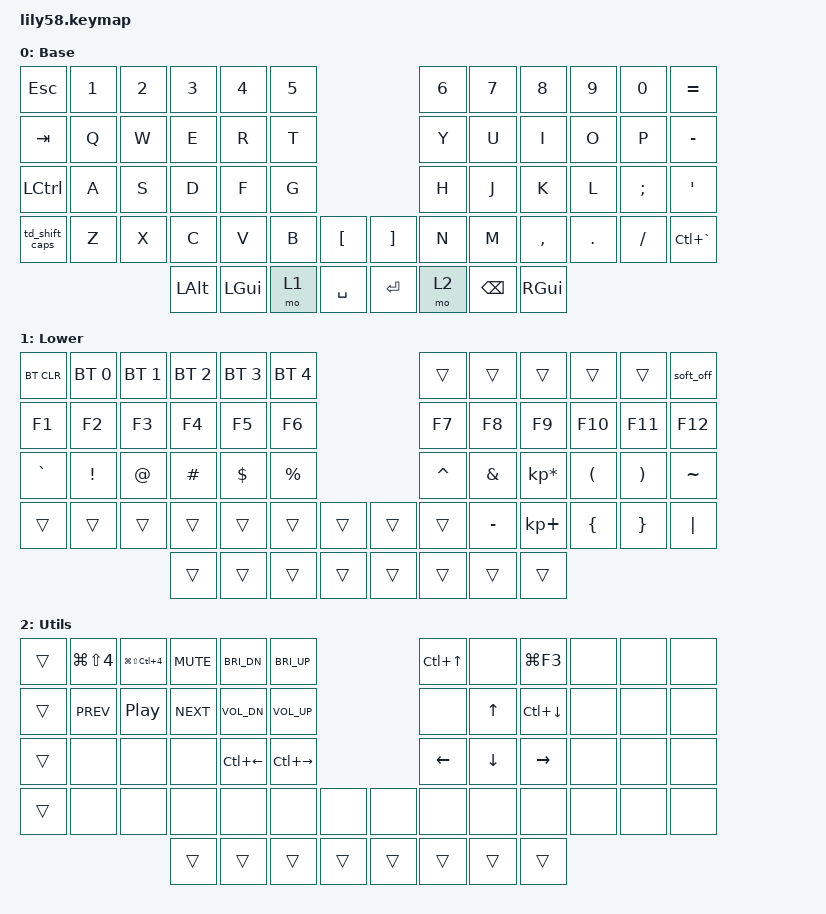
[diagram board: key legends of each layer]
/*
 * Copyright (c) 2020 The ZMK Contributors
 *
 * SPDX-License-Identifier: MIT
 * 
 * Soft Off Configuration:
 * - Press Lower + ` (grave/tilde key) to enter soft off mode
 * - To wake from soft off, press any key on the matrix
 * - Soft off saves significant battery compared to deep sleep
 */

#include <behaviors.dtsi>
#include <dt-bindings/zmk/bt.h>
#include <dt-bindings/zmk/keys.h>
#include <dt-bindings/led/led.h>

/ {
    soft_off_wakeup_sources: soft_off_wakeup_sources {
        compatible = "zmk,soft-off-wakeup-sources";
        wakeup-sources = <&gpio_key_wakeup_trigger>;
    };

    gpio_key_wakeup_trigger: gpio_key_wakeup_trigger {
        compatible = "zmk,gpio-key-wakeup-trigger";
        trigger = <&wakeup_key>;
        wakeup-source;
        extra-gpios =
            <&pro_micro 21 GPIO_ACTIVE_HIGH>,
            <&pro_micro 20 GPIO_ACTIVE_HIGH>,
            <&pro_micro 19 GPIO_ACTIVE_HIGH>,
            <&pro_micro 18 GPIO_ACTIVE_HIGH>,
            <&pro_micro 15 GPIO_ACTIVE_HIGH>,
            <&pro_micro 14 GPIO_ACTIVE_HIGH>;
    };

    gpio_key: gpio_key {
        compatible = "gpio-keys";
        wakeup_key: wakeup_key { gpios = <&pro_micro 6 (GPIO_ACTIVE_LOW | GPIO_PULL_UP)>; };
    };



    behaviors {
        td_shift_caps: tap_dance_shift_caps {
            compatible = "zmk,behavior-tap-dance";
            #binding-cells = <0>;
            tapping-term-ms = <200>;
            bindings = <&kp LSHFT>, <&kp CAPS>;
        };
    };

    keymap {
        compatible = "zmk,keymap";

        default_layer {
            // ------------------------------------------------------------------------------------------------------------
            // |  ESC  |  1  |  2  |  3   |  4   |  5   |                   |  6   |  7    |  8    |  9   |   0   |   `   |
            // |  TAB  |  Q  |  W  |  E   |  R   |  T   |                   |  Y   |  U    |  I    |  O   |   P   |   -   |
            // |  CTRL |  A  |  S  |  D   |  F   |  G   |                   |  H   |  J    |  K    |  L   |   ;   |   '   |
            // |SFT/CAP|  Z  |  X  |  C   |  V   |  B   |   "["  |  |  "]"  |  N   |  M    |  ,    |  .   |   /   | SHIFT |
            //                     | ALT  | GUI  | LOWER|  SPACE |  | ENTER | RAISE| BSPC  | GUI   |

            display-name = "Base";
            bindings = <
&kp ESC         &kp N1  &kp N2  &kp N3    &kp N4    &kp N5                         &kp N6  &kp N7    &kp N8     &kp N9   &kp N0    &kp EQUAL
&kp TAB         &kp Q   &kp W   &kp E     &kp R     &kp T                          &kp Y   &kp U     &kp I      &kp O    &kp P     &kp MINUS
&kp LCTRL       &kp A   &kp S   &kp D     &kp F     &kp G                          &kp H   &kp J     &kp K      &kp L    &kp SEMI  &kp SQT
&td_shift_caps  &kp Z   &kp X   &kp C     &kp V     &kp B   &kp LBKT     &kp RBKT  &kp N   &kp M     &kp COMMA  &kp DOT  &kp FSLH  &kp LC(GRAVE)
                                &kp LALT  &kp LGUI  &mo 1   &kp SPACE    &kp RET   &mo 2   &kp BSPC  &kp RGUI
            >;
        };

        lower_layer {
            // ------------------------------------------------------------------------------------------------------------
            // | BTCLR | BT1 | BT2 |  BT3 |  BT4 |  BT5 |                   |      |       |       |      |       | soft_off |
            // |  F1   |  F2 |  F3 |  F4  |  F5  |  F6  |                   |  F7  |  F8   |  F9   |  F10 |  F11  |  F12  |
            // |   `   |  !  |  @  |  #   |  $   |  %   |                   |  ^   |  &    |  *    |  (   |   )   |   ~   |
            // |       |     |     |      |      |      |        |  |       |      |  _    |  +    |  {   |   }   |  "|"  |
            //                     |      |      |      |        |  |       |      |       |       |

            display-name = "Lower";
            bindings = <
&bt BT_CLR  &bt BT_SEL 0  &bt BT_SEL 1  &bt BT_SEL 2  &bt BT_SEL 3  &bt BT_SEL 4                    &trans     &trans     &trans           &trans    &trans    &soft_off
&kp F1      &kp F2        &kp F3        &kp F4        &kp F5        &kp F6                          &kp F7     &kp F8     &kp F9           &kp F10   &kp F11   &kp F12
&kp GRAVE   &kp EXCL      &kp AT        &kp HASH      &kp DOLLAR    &kp PRCNT                       &kp CARET  &kp AMPS   &kp KP_MULTIPLY  &kp LPAR  &kp RPAR  &kp TILDE
&trans      &trans        &trans        &trans        &trans        &trans        &trans    &trans  &trans     &kp MINUS  &kp KP_PLUS      &kp LBRC  &kp RBRC  &kp PIPE
                                        &trans        &trans        &trans        &trans    &trans  &trans     &trans     &trans
            >;
        };

        util {
            // ------------------------------------------------------------------------------------------------------------
            // |       |     |     |      |      |      |                   |      |       |       |      |       |       |
            // |   `   |  1  |  2  |  3   |  4   |  5   |                   |  6   |   7   |   8   |  9   |   0   |       |
            // |   F1  |  F2 |  F3 |  F4  |  F5  |  F6  |                   |      |   <-  |   v   |  ^   |  ->   |       |
            // |   F7  |  F8 |  F9 |  F10 |  F11 |  F12 |        |  |       |  +   |   -   |   =   |  [   |   ]   |   \   |
            //                     |      |      |      |        |  |       |      |       |       |

            display-name = "Utils";
            bindings = <
&trans  &kp LG(LS(N4))  &kp LG(LS(LC(N4)))  &kp C_MUTE   &kp C_BRI_DN        &kp C_BRI_UP                           &kp LC(UP)      &none           &kp LG(F3)       &none  &none  &none
&trans  &kp C_PREV      &kp C_PLAY_PAUSE    &kp C_NEXT   &kp C_VOL_DN        &kp C_VOL_UP                           &none           &kp UP_ARROW    &kp LC(DOWN)     &none  &none  &none
&trans  &none           &none               &none        &kp LC(LEFT_ARROW)  &kp LC(RIGHT_ARROW)                    &kp LEFT_ARROW  &kp DOWN_ARROW  &kp RIGHT_ARROW  &none  &none  &none
&trans  &none           &none               &none        &none               &none                &none     &none   &none           &none           &none            &none  &none  &none
                                            &trans       &trans              &trans               &trans    &trans  &trans          &trans          &trans
            >;

            label = "util";
        };
    };
};

/ {
    rgb_underglow: rgb_underglow {
        compatible = "worldsemi,ws2812-gpio";
        in-gpios = <&pro_micro 8 GPIO_ACTIVE_HIGH>;
        chain-length = <17>; /* 17 LEDs */
        color-mapping = <LED_COLOR_ID_GREEN LED_COLOR_ID_RED LED_COLOR_ID_BLUE>;
    };
};

&{/chosen} {
    zmk,underglow = &rgb_underglow;
};
